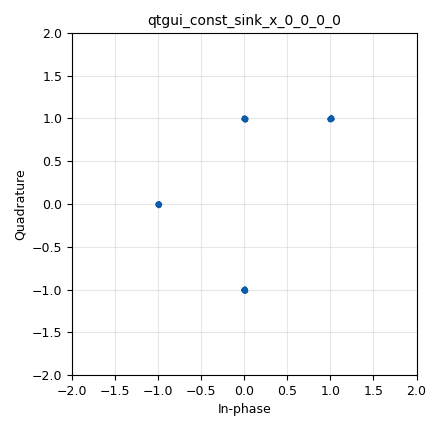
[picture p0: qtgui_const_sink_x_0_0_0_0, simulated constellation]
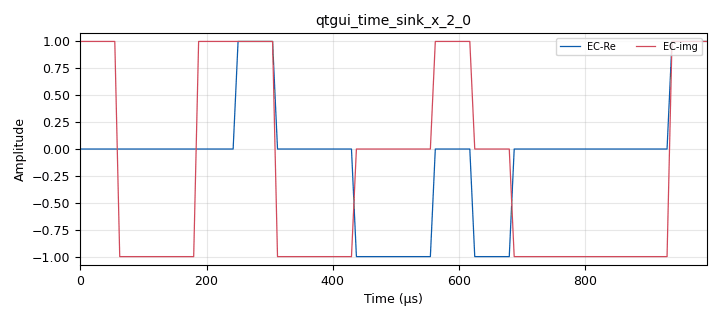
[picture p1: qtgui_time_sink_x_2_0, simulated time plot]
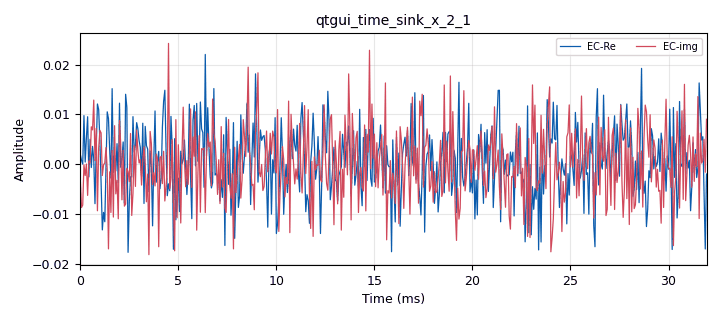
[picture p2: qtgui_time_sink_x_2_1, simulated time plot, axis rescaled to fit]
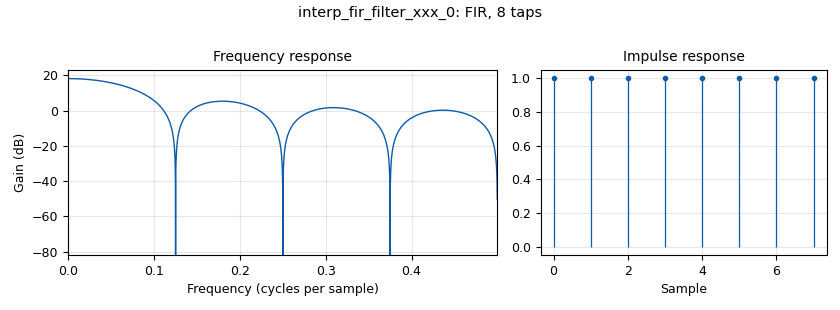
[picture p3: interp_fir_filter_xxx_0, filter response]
options:
  parameters:
    generate_options: qt_gui
    id: new_hier
    output_language: python
    title: Not titled yet
  states: {}

blocks:
- name: Constelacion
  id: variable
  parameters:
    value: '[1+1j,0+1j,-1+0j,0-1j]'
  states: {}
- name: Nbps
  id: variable
  parameters:
    value: int(math.log(M,2))
  states: {}
- name: Rb
  id: variable
  parameters:
    value: '32000'
  states: {}
- name: Rs
  id: variable
  parameters:
    value: Rb/Nbps
  states: {}
- name: Sps
  id: variable
  parameters:
    value: len(h)
  states: {}
- name: h
  id: variable
  parameters:
    value: (1,1,1,1,1,1,1,1)
  states: {}
- name: samp_rate
  id: variable
  parameters:
    value: Rs*Sps
  states: {}
- name: M
  id: parameter
  parameters:
    value: '4'
  states: {}
- name: analog_const_source_x_0
  id: analog_const_source_x
  parameters:
    const: '1.'
    type: float
  states: {state: disabled}
- name: analog_noise_source_x_0
  id: analog_noise_source_x
  parameters:
    amp: '0.01'
    noise_type: analog.GR_GAUSSIAN
    seed: '0'
    type: complex
  states: {}
- name: analog_random_source_x_0
  id: analog_random_source_x
  parameters:
    max: '2'
    min: '0'
    num_samps: '1000'
    repeat: 'True'
    type: byte
  states: {}
- name: blocks_add_xx_0
  id: blocks_add_xx
  parameters:
    type: complex
  states: {}
- name: blocks_char_to_float_0
  id: blocks_char_to_float
  parameters:
    scale: '1'
  states: {state: disabled}
- name: blocks_char_to_float_0_0
  id: blocks_char_to_float
  parameters:
    scale: '1'
  states: {state: disabled}
- name: blocks_char_to_float_0_0_0
  id: blocks_char_to_float
  parameters:
    scale: '1'
  states: {state: disabled}
- name: blocks_multiply_const_vxx_0
  id: blocks_multiply_const_vxx
  parameters:
    const: 2*math.pi/M
    type: float
  states: {state: disabled}
- name: blocks_null_sink_0
  id: blocks_null_sink
  parameters:
    type: complex
  states: {}
- name: blocks_repack_bits_bb_0
  id: blocks_repack_bits_bb
  parameters:
    endianness: gr.GR_LSB_FIRST
    k: '1'
    l: Nbps
  states: {}
- name: blocks_throttle2_0
  id: blocks_throttle2
  parameters:
    samples_per_second: samp_rate
    type: complex
  states: {}
- name: digital_chunks_to_symbols_xx_0
  id: digital_chunks_to_symbols_xx
  parameters:
    dimension: '1'
    in_type: byte
    out_type: complex
    symbol_table: Constelacion
  states: {}
- name: epy_block_0
  id: epy_block
  parameters:
    _source_code: "\"\"\"\nEmbedded Python Blocks:\n\nEach time this file is saved, GRC will instantiate the first class it finds\nto get ports and parameters of your block. The arguments to __init__  will\nbe the parameters. All of them are required to have default values!\n\"\"\"\n\nimport numpy as np\nfrom gnuradio import gr\n\n\nclass blk(gr.sync_block):  # other base classes are basic_block, decim_block, interp_block\n    \"\"\"Embedded Python Block example - a simple multiply const\"\"\"\n\n    def __init__(self, example_param=1.0):  # only default arguments here\n        \"\"\"arguments to this function show up as parameters in GRC\"\"\"\n        gr.sync_block.__init__(\n            self,\n            name='VCO Complex',   # will show up in GRC\n            in_sig=[np.float32,np.float32],\n            out_sig=[np.complex64]\n        )\n        # if an attribute with the same name as a parameter is found,\n        # a callback is registered (properties work, too).\n        self.example_param = example_param\n\n    def work(self, input_items, output_items):\n        Q=input_items[0]\n        A=input_items[1]\n        Sec=output_items[0]\n        #N=len(A)\"Longitud del vector que representa la amlitud\"\n        Sec[:]=A*np.exp(1j*Q) \n        return len(Sec)\n\n\n"
    example_param: '1.0'
  states: {state: disabled}
- name: import_0
  id: import
  parameters:
    imports: import math
  states: {}
- name: interp_fir_filter_xxx_0
  id: interp_fir_filter_xxx
  parameters:
    interp: Sps
    taps: h
    type: ccc
  states: {}
- name: qtgui_const_sink_x_0
  id: qtgui_const_sink_x
  parameters:
    size: '1024'
    type: complex
  states: {state: disabled}
- name: qtgui_const_sink_x_0_0
  id: qtgui_const_sink_x
  parameters:
    size: '1024'
    type: complex
  states: {state: disabled}
- name: qtgui_const_sink_x_0_0_0
  id: qtgui_const_sink_x
  parameters:
    size: '1024'
    type: complex
  states: {state: disabled}
- name: qtgui_const_sink_x_0_0_0_0
  id: qtgui_const_sink_x
  parameters:
    size: '1024'
    type: complex
  states: {}
- name: qtgui_freq_sink_x_0
  id: qtgui_freq_sink_x
  parameters:
    average: '0.05'
    bw: samp_rate
    fc: '0'
    fftsize: '1024'
    type: complex
  states: {state: disabled}
- name: qtgui_time_sink_x_0
  id: qtgui_time_sink_x
  parameters:
    marker1: '0'
    name: Npam_mod
    size: int(32/Nbps)
    srate: Rs
    stemplot: 'True'
    type: float
    width1: '3'
  states: {state: disabled}
- name: qtgui_time_sink_x_0_0
  id: qtgui_time_sink_x
  parameters:
    marker1: '0'
    size: int(32/Nbps)
    srate: Rs
    stemplot: 'True'
    type: float
    width1: '3'
  states: {state: disabled}
- name: qtgui_time_sink_x_1
  id: qtgui_time_sink_x
  parameters:
    marker1: '0'
    name: Binaria
    size: '32'
    srate: Rb
    stemplot: 'True'
    type: float
    width1: '3'
  states: {state: disabled}
- name: qtgui_time_sink_x_2
  id: qtgui_time_sink_x
  parameters:
    label1: EC-Re
    label2: EC-img
    marker1: '0'
    marker2: '0'
    size: int(32/Nbps)
    srate: Rs
    stemplot: 'True'
    type: complex
    width1: '3'
    width2: '3'
  states: {state: disabled}
- name: qtgui_time_sink_x_2_0
  id: qtgui_time_sink_x
  parameters:
    label1: EC-Re
    label2: EC-img
    size: int(32*Sps/Nbps)
    srate: samp_rate
    type: complex
    width1: '3'
    width2: '3'
  states: {}
- name: qtgui_time_sink_x_2_1
  id: qtgui_time_sink_x
  parameters:
    entags: 'False'
    label1: EC-Re
    label2: EC-img
    size: '512'
    srate: Rs
    type: complex
    width1: '3'
    width2: '3'
  states: {}

connections:
- [analog_const_source_x_0, '0', epy_block_0, '1']
- [analog_noise_source_x_0, '0', blocks_add_xx_0, '1']
- [analog_noise_source_x_0, '0', qtgui_const_sink_x_0_0_0, '0']
- [analog_noise_source_x_0, '0', qtgui_time_sink_x_2_1, '0']
- [analog_random_source_x_0, '0', blocks_char_to_float_0_0, '0']
- [analog_random_source_x_0, '0', blocks_repack_bits_bb_0, '0']
- [blocks_add_xx_0, '0', blocks_null_sink_0, '0']
- [blocks_add_xx_0, '0', qtgui_const_sink_x_0_0, '0']
- [blocks_add_xx_0, '0', qtgui_const_sink_x_0_0_0_0, '0']
- [blocks_char_to_float_0, '0', blocks_multiply_const_vxx_0, '0']
- [blocks_char_to_float_0_0, '0', qtgui_time_sink_x_1, '0']
- [blocks_char_to_float_0_0_0, '0', qtgui_time_sink_x_0_0, '0']
- [blocks_multiply_const_vxx_0, '0', epy_block_0, '0']
- [blocks_multiply_const_vxx_0, '0', qtgui_time_sink_x_0, '0']
- [blocks_repack_bits_bb_0, '0', blocks_char_to_float_0, '0']
- [blocks_repack_bits_bb_0, '0', blocks_char_to_float_0_0_0, '0']
- [blocks_repack_bits_bb_0, '0', digital_chunks_to_symbols_xx_0, '0']
- [blocks_throttle2_0, '0', blocks_add_xx_0, '0']
- [digital_chunks_to_symbols_xx_0, '0', interp_fir_filter_xxx_0, '0']
- [epy_block_0, '0', interp_fir_filter_xxx_0, '0']
- [epy_block_0, '0', qtgui_const_sink_x_0, '0']
- [epy_block_0, '0', qtgui_time_sink_x_2, '0']
- [interp_fir_filter_xxx_0, '0', blocks_throttle2_0, '0']
- [interp_fir_filter_xxx_0, '0', qtgui_freq_sink_x_0, '0']
- [interp_fir_filter_xxx_0, '0', qtgui_time_sink_x_2_0, '0']

metadata:
  file_format: 1
  grc_version: 3.10.10.0
